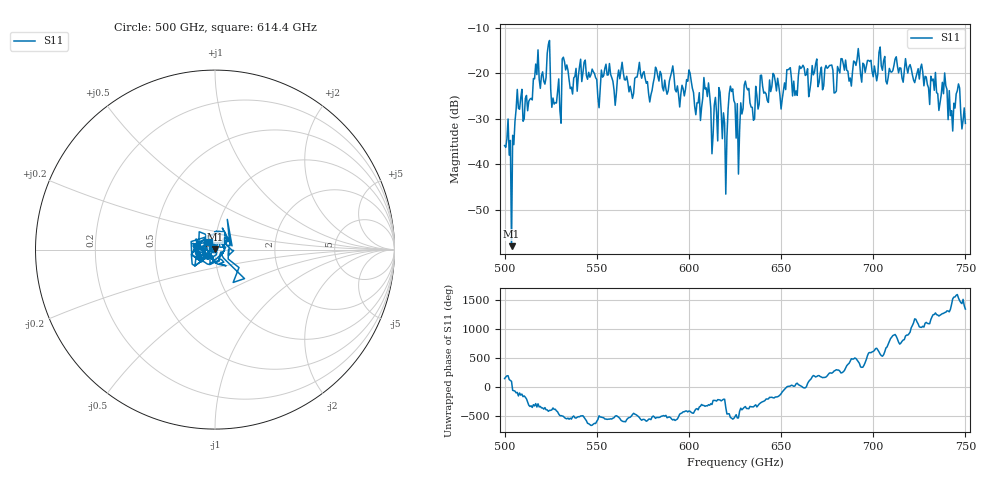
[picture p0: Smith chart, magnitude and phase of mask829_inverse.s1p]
!Created with skrf (http://scikit-rf.org).
# GHz S MA R 50.0
!freq magS11 angS11
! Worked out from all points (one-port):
!   401 points, 500 GHz to 750 GHz, reference 50 ohm
!   lowest |S11| = -58.0 dB at 503.8 GHz (marker M1), VSWR 1.00, Z = 50 + j0.125 ohm
!   |S11| at or under -10 dB: start of sweep to end of sweep
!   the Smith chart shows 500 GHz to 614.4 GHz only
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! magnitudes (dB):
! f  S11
! 500 GHz  -35.9
! 503.8 GHz  -58.0
! 507.5 GHz  -27.7
! 513.8 GHz  -25.7
! 516.9 GHz  -17.9
! 523.8 GHz  -13.6
! 526.9 GHz  -26.8
! 531.2 GHz  -16.8
! 532.5 GHz  -17.4
! 550.6 GHz  -25.4
! 562.5 GHz  -21.2
! 593.8 GHz  -22.7
! 609.4 GHz  -23.2
! 612.5 GHz  -37.7
! 617.5 GHz  -28.3
! 619.4 GHz  -31.0
! 622.5 GHz  -22.8
! 625 GHz  -26.6
! 626.9 GHz  -42.2
! 631.2 GHz  -23.1
! 634.4 GHz  -27.5
! 640 GHz  -22.9
! 656.2 GHz  -25.0
! 687.5 GHz  -21.0
! 718.8 GHz  -19.9
! 741.9 GHz  -29.3
! 746.2 GHz  -22.3
! 750 GHz  -31.0
